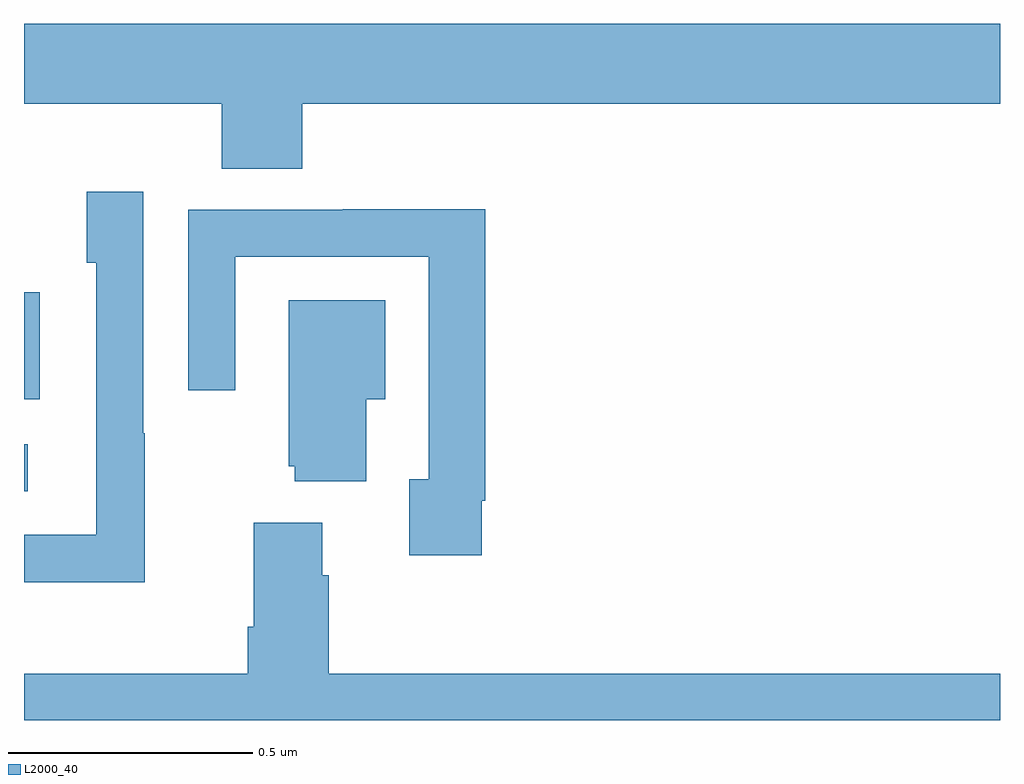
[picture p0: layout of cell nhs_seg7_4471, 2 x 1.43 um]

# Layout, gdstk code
import gdstk
lib = gdstk.Library(unit=1e-6, precision=1e-09)
def R(c, l, rs):  # rectangles x0, y0, x1, y1
    for r in rs: c.add(gdstk.rectangle(r[:2], r[2:], *l))
def P(c, l, *ps):  # polygons
    for p in ps: c.add(gdstk.Polygon(p, *l))
L2000_40 = (2000, 40)

nhs_seg7_4471 = lib.new_cell('nhs_seg7_4471')
R(nhs_seg7_4471, L2000_40, [(173,1018.47,173.008,1018.566), (173,1018.658,173.032,1018.877)])
P(nhs_seg7_4471, L2000_40, [(173.57,1019.264),(175,1019.264),(175,1019.428),(173,1019.428),(173,1019.264),(173.405,1019.264),(173.405,1019.131),(173.57,1019.131)],
  [(173.247,1018.589),(173.244,1018.589),(173.244,1019.083),(173.129,1019.083),(173.129,1018.938),(173.148,1018.938),(173.148,1018.38),(173,1018.38),(173,1018.283),(173.247,1018.283)],
  [(173.938,1018.45),(173.945,1018.45),(173.945,1019.048),(173.653,1019.048),(173.653,1019.046),(173.337,1019.046),(173.337,1018.677),(173.433,1018.677),(173.433,1018.95),(173.829,1018.95),(173.829,1018.494),(173.789,1018.494),(173.789,1018.338),(173.938,1018.338)],
  [(173.701,1018.658),(173.74,1018.658),(173.74,1018.861),(173.543,1018.861),(173.543,1018.521),(173.555,1018.521),(173.555,1018.49),(173.701,1018.49)],
  [(175,1018.096),(173.624,1018.096),(173.624,1018.298),(173.611,1018.298),(173.611,1018.405),(173.471,1018.405),(173.471,1018.192),(173.459,1018.192),(173.459,1018.096),(173,1018.096),(173,1018),(175,1018)])

lib.write_gds('nhs_seg7_4471.gds')
